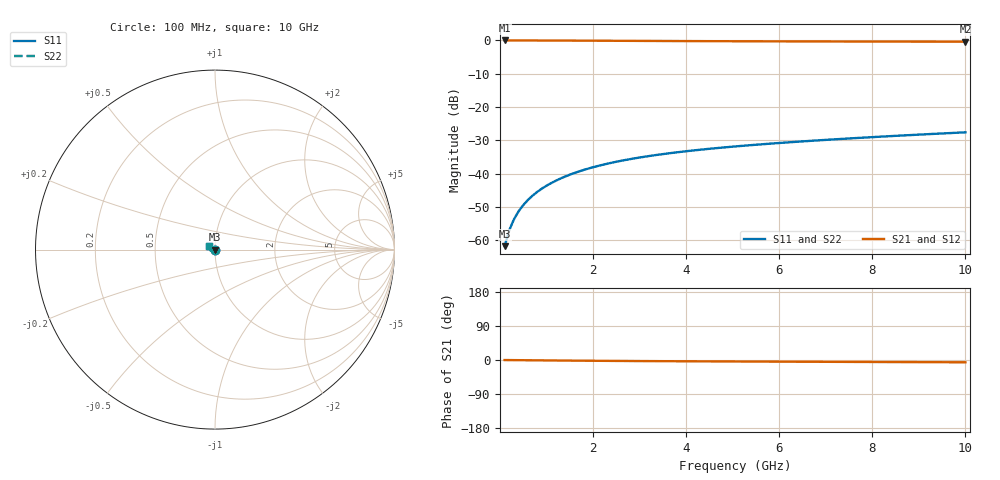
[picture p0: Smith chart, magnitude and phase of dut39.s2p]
! Touchstone file exported from HFSS 2024.1.0
!  File:  C:/UserFiles/LocalFiles/RDL_TSV_Batchsim/temp_TSV1_39_1779370993.aedt
!  Generated:  09:49:07 PM May 21, 2026
!  Design:  TSV1
!  Project:  temp_TSV1_39_1779370993
!  Setup:  Setup1
!  Solution:  Sweep
! Variables:
!  dtsv = 5.66um
!  hbump = 3um
!  htsv = 92.7um
!  lrdl = 252.1521522um
!  p = 40
!  p1 = 46.07um
!  t = 500um
!  trdl = 3um
!  wrdl = 24.89489489um
# GHz S MA R 50.000000
! Terminal data exported
! Port[1] = TSV22_T1
! Port[2] = TSV22_T2
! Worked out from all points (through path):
!   100 points, 100 MHz to 10 GHz, reference 50 ohm
!   highest |S21| = 0.00 dB at 100 MHz (marker M1); lowest = -0.4 dB at 10 GHz (marker M2)
!   lowest |S11| = -61.7 dB at 100 MHz (marker M3), VSWR 1.00, Z = 50 - j0.0678 ohm
!   |S11| at or under -10 dB: start of sweep to end of sweep
!   |S22| runs from -61.7 to -27.6 dB; largest |S21 - S12| = 2.3e-15
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0.1  0.0008187 -55.8  0.9995 -0.1  0.9995 -0.1  0.0008187 -55.8
! Gamma 0 0 0 0
! Port Impedance 50 0 50 0
0.2  0.001423 -74.0  0.9994 -0.2  0.9994 -0.2  0.001423 -74.0
0.3  0.002068 -82.5  0.9993 -0.3  0.9993 -0.3  0.002068 -82.5
0.4  0.002723 -87.9  0.9991 -0.4  0.9991 -0.4  0.002723 -87.9
0.5  0.003379 -92.0  0.9989 -0.6  0.9989 -0.6  0.003379 -92.0
0.6  0.004034 -95.4  0.9986 -0.7  0.9986 -0.7  0.004034 -95.4
0.7  0.004686 -98.4  0.9983 -0.8  0.9983 -0.8  0.004686 -98.4
0.8  0.005333 -101.2  0.9979 -0.9  0.9979 -0.9  0.005333 -101.2
0.9  0.005975 -103.8  0.9975 -1.0  0.9975 -1.0  0.005975 -103.8
1.1  0.007238 -108.6  0.9967 -1.2  0.9967 -1.2  0.007238 -108.6
1.4  0.009076 -115.2  0.9951 -1.5  0.9951 -1.5  0.009076 -115.2
1.6  0.01026 -119.4  0.9939 -1.7  0.9939 -1.7  0.01026 -119.4
1.8  0.0114 -123.4  0.9926 -1.9  0.9926 -1.9  0.0114 -123.4
2.1  0.01305 -129.1  0.9907 -2.1  0.9907 -2.1  0.01305 -129.1
2.5  0.01512 -136.2  0.9879 -2.4  0.9879 -2.4  0.01512 -136.2
2.9  0.01705 -142.8  0.9851 -2.7  0.9851 -2.7  0.01705 -142.8
3.4  0.01928 -150.5  0.9818 -3.0  0.9818 -3.0  0.01928 -150.5
4.2  0.02253 -161.5  0.9769 -3.5  0.9769 -3.5  0.02253 -161.5
5.1  0.02583 -172.1  0.9722 -3.9  0.9722 -3.9  0.02583 -172.1
6.7  0.03123 172.4  0.9659 -4.7  0.9659 -4.7  0.03123 172.4
8.4  0.0367 159.5  0.9613 -5.4  0.9613 -5.4  0.0367 159.5
10  0.0418 149.9  0.9581 -6.1  0.9581 -6.1  0.04179 149.9
